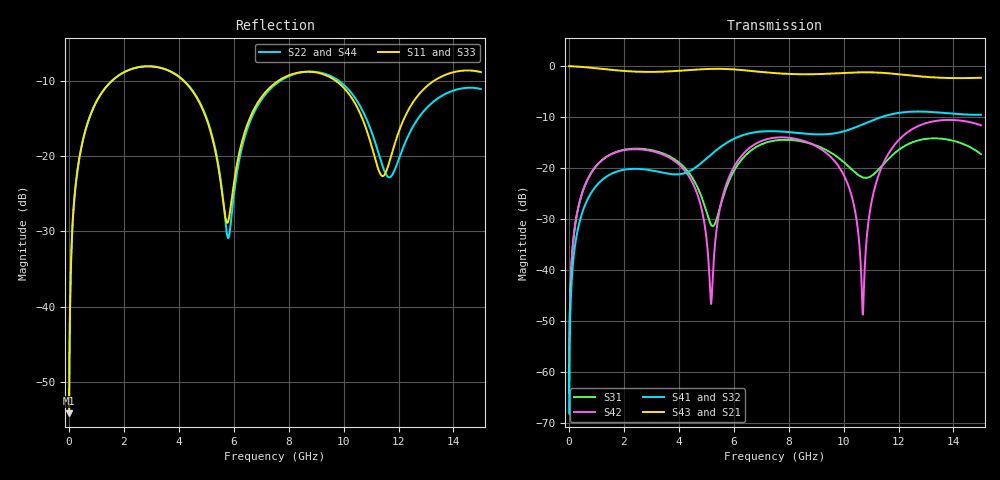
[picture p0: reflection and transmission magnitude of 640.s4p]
! Created with skrf 1.8.0 (http://scikit-rf.org).
# GHz S RI R 50.0
!freq ReS11 ImS11 ReS12 ImS12 ReS13 ImS13
! ReS14 ImS14
! ReS21 ImS21 ReS22 ImS22 ReS23 ImS23
! ReS24 ImS24
! ReS31 ImS31 ReS32 ImS32 ReS33 ImS33
! ReS34 ImS34
! ReS41 ImS41 ReS42 ImS42 ReS43 ImS43
! ReS44 ImS44
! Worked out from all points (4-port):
!   2499 points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, 5 MHz to 15 GHz, reference 50 ohm
!   strongest paths, dB at 5 MHz, 3.476 GHz, 7.19 GHz, 11.1 GHz, 15 GHz:
!     S43: 0.0, -1.1, -1.2, -1.2, -2.3
!     S21: 0.0, -1.1, -1.2, -1.2, -2.3
!     S41: -68.1, -21.0, -12.8, -10.5, -9.5
!     S32: -68.1, -21.0, -12.8, -10.5, -9.5
!     S42: -64.1, -17.5, -14.4, -24.7, -11.6
!     S31: -64.1, -17.2, -15.0, -21.2, -17.3
!   lowest |S11| = -54.2 dB at 5 MHz (marker M1), VSWR 1.00, Z = 50.2 + j0.119 ohm
!   |S11| at or under -10 dB: start of sweep to 1.569 GHz; 4.172 GHz to 7.63 GHz (3.458 GHz wide, 58.6 % of centre); 9.714 GHz to 13.3 GHz (3.582 GHz wide, 31.1 % of centre)
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0.005  0.00156 0.00118  0.9984 -0.00303  7.79e-05 0.000616  -7.56e-05 -0.000386
       0.9984 -0.00303  0.00156 0.00118  -7.56e-05 -0.000386  7.78e-05 0.000616
       7.79e-05 0.000616  -7.56e-05 -0.000386  0.00156 0.00118  0.9984 -0.00303
       -7.56e-05 -0.000386  7.78e-05 0.000616  0.9984 -0.00303  0.00156 0.00118
0.3126303  0.022 0.0782  0.97 -0.1888  0.0101 0.0367  -0.00832 -0.0229
           0.97 -0.1888  0.022 0.0782  -0.00832 -0.0229  0.00988 0.0368
           0.0101 0.0367  -0.00832 -0.0229  0.022 0.0782  0.97 -0.1888
           -0.00832 -0.0229  0.00988 0.0368  0.97 -0.1888  0.022 0.0782
1.569404  0.2574 0.1838  0.5763 -0.7139  0.1238 0.0626  -0.0878 -0.0107
          0.5763 -0.7139  0.2582 0.1834  -0.0878 -0.0107  0.1209 0.0662
          0.1238 0.0626  -0.0878 -0.0107  0.2573 0.1838  0.5763 -0.7138
          -0.0878 -0.0107  0.1209 0.0662  0.5763 -0.7138  0.2582 0.1833
5.177157  0.0736 -0.1198  -0.8611 -0.3737  -0.0247 -0.0126  -0.0501 0.1261
          -0.8611 -0.3737  0.069 -0.1268  -0.0497 0.1262  0.0045 0.00114
          -0.0247 -0.0126  -0.0497 0.1262  0.0736 -0.1181  -0.8615 -0.3736
          -0.0501 0.1261  0.0045 0.00114  -0.8615 -0.3736  0.0677 -0.1256
9.028762  0.3544 -0.0533  0.0365 0.8334  0.1343 -0.0965  0.2016 -0.0722
          0.0365 0.8334  0.3583 -0.047  0.2012 -0.0725  0.1412 -0.0799
          0.1343 -0.0965  0.2012 -0.0725  0.3545 -0.055  0.035 0.8334
          0.2016 -0.0722  0.1412 -0.0799  0.035 0.8334  0.3589 -0.044
10.69821  0.126 -0.1209  0.697 0.5192  -0.0672 -0.0455  0.1545 -0.2196
          0.697 0.5192  0.1385 -0.1426  0.1542 -0.2197  0.00365 0.000124
          -0.0672 -0.0455  0.1542 -0.2197  0.1236 -0.122  0.6958 0.5212
          0.1545 -0.2196  0.00365 0.000124  0.6958 0.5212  0.1411 -0.14
15  0.3452 -0.1049  -0.0158 -0.7678  0.132 -0.0372  -0.3263 0.0701
    -0.0158 -0.7678  0.2767 -0.0308  -0.3262 0.0717  0.1581 -0.2103
    0.132 -0.0372  -0.3262 0.0717  0.3439 -0.1035  -0.01 -0.7686
    -0.3263 0.0701  0.1581 -0.2103  -0.01 -0.7686  0.2762 -0.0277
